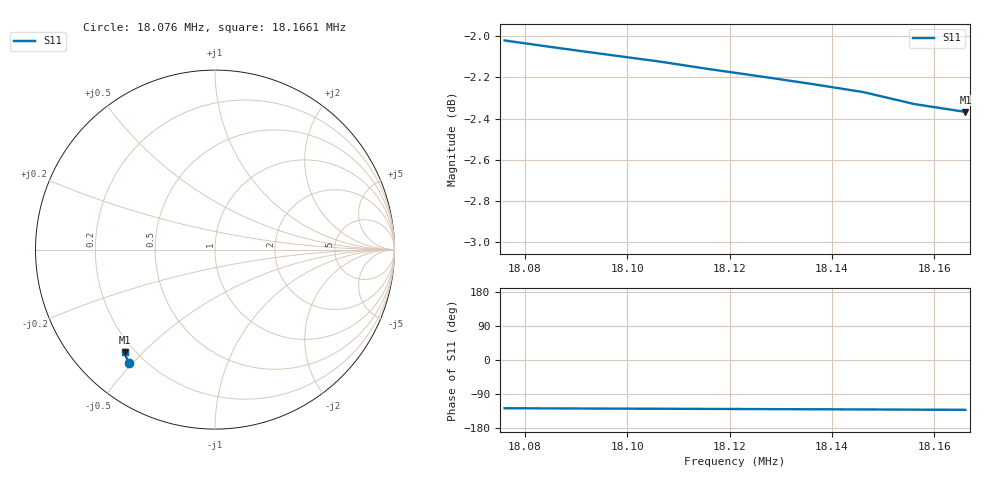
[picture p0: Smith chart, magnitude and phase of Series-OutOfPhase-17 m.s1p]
# HZ S RI R 50
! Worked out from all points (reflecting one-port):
!   10 points, 18.076 MHz to 18.1661 MHz, reference 50 ohm
!   lowest |S11| = -2.4 dB at 18.1661 MHz (marker M1), VSWR 7.38, Z = 8.12 - j22 ohm
!   phase of S11 starts at -127 deg and turns -4 deg over the sweep
1.807603e7  -0.4807 -0.6301
1.808603e7  -0.4834 -0.624
1.809604e7  -0.4863 -0.6178
1.810604e7  -0.489 -0.6119
1.811604e7  -0.4916 -0.6054
1.812605e7  -0.4945 -0.599
1.813605e7  -0.4971 -0.5925
1.814606e7  -0.4995 -0.586
1.815606e7  -0.5017 -0.5772
1.816606e7  -0.5042 -0.5706
